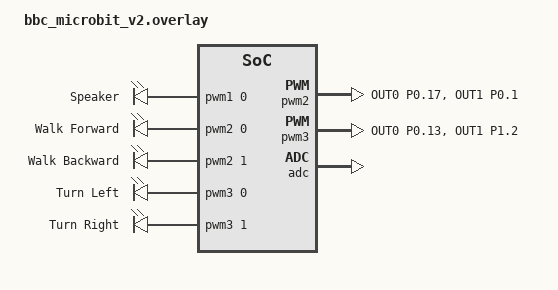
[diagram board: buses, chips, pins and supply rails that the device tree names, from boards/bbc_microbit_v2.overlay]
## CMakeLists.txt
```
# SPDX-License-Identifier: Apache-2.0

cmake_minimum_required(VERSION 3.20.0)
find_package(Zephyr REQUIRED HINTS $ENV{ZEPHYR_BASE})

project(imu_orientation)

# Build number (auto-incremented by build_flash.sh)
if(DEFINED BUILD_NUMBER)
    target_compile_definitions(app PRIVATE BUILD_NUMBER=${BUILD_NUMBER})
    message(STATUS "Build number: ${BUILD_NUMBER}")
endif()

target_sources(app PRIVATE
    # Core
    src/main.c
    src/robot_state.c

    # IMU/Sensors
    src/sensors.c
    src/orientation.c
    src/mahony_filter.c

    # Communication
    src/serial_output.c
    src/smp_bt.c
    src/ble_output.c
    src/telemetry.c

    # Xbox Controller
    src/ble_central.c
    src/hid_parser.c

    # Actuators
    src/motor_driver.c
    src/audio.c

    # Control
    src/yaw_controller.c

    # Sensors (additional)
    src/ir_sensors.c

    # Autonomous Navigation
    src/autonomous_nav.c

    # OTA/Bootloader
    src/boot_control.c
    src/ota_update.c

    # Testing
    src/motor_test.c
    src/sysid.c
)
```

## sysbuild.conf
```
# Sysbuild configuration for MCUboot bootloader
SB_CONFIG_BOOTLOADER_MCUBOOT=y
```

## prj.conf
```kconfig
# Threading
CONFIG_MULTITHREADING=y
CONFIG_NUM_PREEMPT_PRIORITIES=16
CONFIG_MAIN_STACK_SIZE=3584

# GPIO & I2C
CONFIG_GPIO=y
CONFIG_I2C=y

# Sensors
CONFIG_SENSOR=y

# Display
CONFIG_DISPLAY=y
CONFIG_MICROBIT_DISPLAY=y

# Floating point support
CONFIG_CBPRINTF_FP_SUPPORT=y
CONFIG_FPU=y

# C library with math (picolibc is smaller than newlib)
CONFIG_PICOLIBC=y

# Input subsystem for buttons
CONFIG_INPUT=y

# Debug output / Console
CONFIG_PRINTK=y
CONFIG_CONSOLE=y
CONFIG_UART_CONSOLE=y

# Heap for message queue allocations (increased for BLE Central + Peripheral)
CONFIG_HEAP_MEM_POOL_SIZE=8192

# MCUboot Support (disabled for direct flash testing)
# CONFIG_BOOTLOADER_MCUBOOT=y
# CONFIG_MCUBOOT_GENERATE_UNSIGNED_IMAGE=y
# Flash support (disabled without MCUboot)
# CONFIG_FLASH=y
# CONFIG_FLASH_MAP=y
# CONFIG_FLASH_PAGE_LAYOUT=y
# CONFIG_STREAM_FLASH=y
# CONFIG_IMG_MANAGER=y

# MCUmgr core (disabled without MCUboot)
# CONFIG_NET_BUF=y
# CONFIG_ZCBOR=y
# CONFIG_CRC=y
# CONFIG_MCUMGR=y

# MCUmgr handlers (disabled without MCUboot)
# CONFIG_MCUMGR_GRP_IMG=y
# CONFIG_MCUMGR_GRP_OS=y

# Stack sizes (increased for BLE Central + Peripheral + OTA flash ops)
CONFIG_SYSTEM_WORKQUEUE_STACK_SIZE=3072

# Size optimization
CONFIG_SIZE_OPTIMIZATIONS=y
CONFIG_SPEED_OPTIMIZATIONS=n

# Reduce code size
CONFIG_BOOT_BANNER=n

# =============================================================================
# Bluetooth Configuration (Central + Peripheral)
# =============================================================================
CONFIG_BT=y
CONFIG_BT_DEVICE_NAME="Ozzy"

# Peripheral role (for NUS output)
CONFIG_BT_PERIPHERAL=y

# Central role (for Xbox Controller)
CONFIG_BT_CENTRAL=y
CONFIG_BT_GATT_CLIENT=y

# Connection settings
CONFIG_BT_MAX_CONN=2
CONFIG_BT_MAX_PAIRED=2

# Security/Pairing/Bonding for Xbox Controller
CONFIG_BT_SMP=y
CONFIG_BT_BONDABLE=y
CONFIG_BT_SMP_APP_PAIRING_ACCEPT=y

# Persistent Bonding Storage
CONFIG_BT_SETTINGS=y
CONFIG_SETTINGS=y
CONFIG_NVS=y
CONFIG_FLASH=y
CONFIG_FLASH_MAP=y
CONFIG_FLASH_PAGE_LAYOUT=y

# GATT settings for HID discovery
CONFIG_BT_GATT_AUTO_DISCOVER_CCC=y
CONFIG_BT_GATT_AUTO_UPDATE_MTU=y

# Larger MTU for text responses (PID params ~50 bytes)
CONFIG_BT_L2CAP_TX_MTU=247
CONFIG_BT_CTLR_DATA_LENGTH_MAX=251

# Buffer configuration for HID reports and dual connections
CONFIG_BT_L2CAP_TX_BUF_COUNT=6
CONFIG_BT_BUF_ACL_RX_SIZE=255
CONFIG_BT_BUF_ACL_TX_SIZE=255
CONFIG_BT_CTLR_RX_BUFFERS=4

# Scanning
CONFIG_BT_SCAN_WITH_IDENTITY=y

# Nordic UART Service (NUS) for BLE output
CONFIG_BT_ZEPHYR_NUS=y

# =============================================================================
# PWM for Motors and Speaker
# =============================================================================
CONFIG_PWM=y

# =============================================================================
# ADC for IR Sensors
# =============================================================================
CONFIG_ADC=y

# =============================================================================
# Thread Monitoring (minimal for reduced size)
# =============================================================================
CONFIG_THREAD_MONITOR=y
CONFIG_THREAD_NAME=y
# Disable stack/CPU stats to save ~10KB flash
# CONFIG_THREAD_STACK_INFO=y
# CONFIG_INIT_STACKS=y
# CONFIG_THREAD_RUNTIME_STATS=y
# CONFIG_SCHED_THREAD_USAGE=y

# =============================================================================
# OTA Dual-Slot System
# =============================================================================
# Use device tree code-partition for app start address (0x04000)
CONFIG_USE_DT_CODE_PARTITION=y

# CRC for OTA validation
CONFIG_CRC=y

# Reboot support for OTA commit
CONFIG_REBOOT=y
```

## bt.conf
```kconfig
# BLE Configuration for IMU Sensor
# Include with: west build -- -DEXTRA_CONF_FILE="bt.conf"

# BLE Core
CONFIG_BT=y
CONFIG_BT_PERIPHERAL=y
CONFIG_BT_DEVICE_NAME="IMU-Sensor"
CONFIG_BT_DEVICE_APPEARANCE=0

# Enable GATT services
CONFIG_BT_GATT_DYNAMIC_DB=y

# Nordic UART Service (NUS)
CONFIG_BT_ZEPHYR_NUS=y

# MCUmgr BLE Transport for OTA DFU
CONFIG_MCUMGR_TRANSPORT_BT=y
CONFIG_MCUMGR_TRANSPORT_BT_REASSEMBLY=y

# Optimized MTU for faster transfers
CONFIG_BT_L2CAP_TX_MTU=252
CONFIG_BT_BUF_ACL_RX_SIZE=256
CONFIG_BT_BUF_ACL_TX_SIZE=256

# BLE connection parameters
CONFIG_BT_MAX_CONN=1
CONFIG_BT_MAX_PAIRED=1

# Security disabled to save space (can be enabled later for pairing)
CONFIG_BT_SMP=n
CONFIG_BT_SETTINGS=n

# Reduce BLE controller features to save space
CONFIG_BT_CTLR_PRIVACY=n
```

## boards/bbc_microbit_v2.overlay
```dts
/*
 * SPDX-License-Identifier: Apache-2.0
 * Device Tree Overlay for Kosmos Proxi Hexapod Robot
 *
 * Verified Pin-Belegung (2024-01-24):
 * - P13 (P0.17) = Walk Forward
 * - P14 (P0.01) = Walk Backward
 * - P15 (P0.13) = Turn Left
 * - P16 (P1.02) = Turn Right
 * - P0.00      = Speaker (integriert, PWM1)
 *
 * PWM-Zuordnung:
 * - PWM0: LED Matrix (vom Board verwendet)
 * - PWM1: Speaker/Buzzer (P0.00)
 * - PWM2: Walk Motor (P13 fwd, P14 bwd)
 * - PWM3: Turn Motor (P15 left, P16 right)
 */

#include <zephyr/dt-bindings/pwm/pwm.h>

/ {
    aliases {
        pwm-led0 = &speaker;
        walk-fwd = &walk_fwd;
        walk-bwd = &walk_bwd;
        turn-left = &turn_left;
        turn-right = &turn_right;
    };

    /* Speaker on P0.00 using PWM1 channel 0 */
    speaker_pwm: speaker-pwm {
        compatible = "pwm-leds";
        status = "okay";
        speaker: speaker_ch {
            pwms = <&pwm1 0 PWM_MSEC(1) PWM_POLARITY_NORMAL>;
            label = "Speaker";
        };
    };

    /* Walk Motor - Forward (P13) and Backward (P14) */
    walk_motor_pwm: walk-motor-pwm {
        compatible = "pwm-leds";
        status = "okay";
        walk_fwd: walk_fwd_ch {
            pwms = <&pwm2 0 PWM_USEC(1000) PWM_POLARITY_NORMAL>;
            label = "Walk Forward";
        };
        walk_bwd: walk_bwd_ch {
            pwms = <&pwm2 1 PWM_USEC(1000) PWM_POLARITY_NORMAL>;
            label = "Walk Backward";
        };
    };

    /* Turn Motor - Left (P15) and Right (P16) */
    turn_motor_pwm: turn-motor-pwm {
        compatible = "pwm-leds";
        status = "okay";
        turn_left: turn_left_ch {
            pwms = <&pwm3 0 PWM_USEC(1000) PWM_POLARITY_NORMAL>;
            label = "Turn Left";
        };
        turn_right: turn_right_ch {
            pwms = <&pwm3 1 PWM_USEC(1000) PWM_POLARITY_NORMAL>;
            label = "Turn Right";
        };
    };
};

/* PWM2 for walk motor */
&pwm2 {
    status = "okay";
    pinctrl-0 = <&pwm2_default>;
    pinctrl-1 = <&pwm2_sleep>;
    pinctrl-names = "default", "sleep";
};

/* PWM3 for turn motor */
&pwm3 {
    status = "okay";
    pinctrl-0 = <&pwm3_default>;
    pinctrl-1 = <&pwm3_sleep>;
    pinctrl-names = "default", "sleep";
};

&pinctrl {
    /* PWM2: Walk motor pins */
    pwm2_default: pwm2_default {
        group1 {
            psels = <NRF_PSEL(PWM_OUT0, 0, 17)>,  /* P13 = P0.17 = Walk Fwd */
                    <NRF_PSEL(PWM_OUT1, 0, 1)>;   /* P14 = P0.01 = Walk Bwd */
        };
    };
    pwm2_sleep: pwm2_sleep {
        group1 {
            psels = <NRF_PSEL(PWM_OUT0, 0, 17)>,
                    <NRF_PSEL(PWM_OUT1, 0, 1)>;
            low-power-enable;
        };
    };

    /* PWM3: Turn motor pins */
    pwm3_default: pwm3_default {
        group1 {
            psels = <NRF_PSEL(PWM_OUT0, 0, 13)>,  /* P15 = P0.13 = Turn Left */
                    <NRF_PSEL(PWM_OUT1, 1, 2)>;   /* P16 = P1.02 = Turn Right */
        };
    };
    pwm3_sleep: pwm3_sleep {
        group1 {
            psels = <NRF_PSEL(PWM_OUT0, 0, 13)>,
                    <NRF_PSEL(PWM_OUT1, 1, 2)>;
            low-power-enable;
        };
    };
};

/* ADC for IR Sensors (optional, for future use) */
&adc {
    status = "okay";
};

/*
 * Custom partition layout for Boot-Pointer OTA System
 *
 * Optimized Layout (nRF52833 512KB):
 *   Mini-Bootloader:   0x00000 - 0x02000 (8KB)
 *   Slot A (Primary):  0x02000 - 0x3F000 (244KB)
 *   Slot B (Secondary):0x3F000 - 0x7C000 (244KB)
 *   Boot Control Block:0x7C000 - 0x7D000 (4KB)
 *   OTA State:         0x7D000 - 0x7E000 (4KB)
 *   Settings/NVS:      0x7E000 - 0x80000 (8KB)
 *   Total: 512KB
 */
/delete-node/ &boot_partition;
/delete-node/ &slot0_partition;
/delete-node/ &slot1_partition;
/delete-node/ &scratch_partition;
/delete-node/ &storage_partition;

/*
 * Code partition selection:
 * - Default: Slot A (0x02000) for direct flash
 * - OTA to Slot B: Build with -DTARGET_SLOT=B
 *
 * The build script queries active slot and builds for inactive slot.
 */
/ {
    chosen {
        /* Default to Slot A - overridden by Kconfig for Slot B builds */
        zephyr,code-partition = &slot0_partition;
    };
};

&flash0 {
    partitions {
        compatible = "fixed-partitions";
        #address-cells = <1>;
        #size-cells = <1>;

        /* Mini-Bootloader: 8KB */
        boot_partition: partition@0 {
            label = "bootloader";
            reg = <0x00000000 0x00002000>;
            read-only;
        };

        /* Slot A - Primary firmware: 244KB */
        slot0_partition: partition@2000 {
            label = "image-0";
            reg = <0x00002000 0x0003D000>;
        };

        /* Slot B - Secondary firmware: 244KB */
        slot1_partition: partition@3f000 {
            label = "image-1";
            reg = <0x0003F000 0x0003D000>;
        };

        /* Boot Control Block: 4KB */
        boot_control_partition: partition@7c000 {
            label = "boot-control";
            reg = <0x0007C000 0x00001000>;
        };

        /* OTA State: 4KB */
        ota_state_partition: partition@7d000 {
            label = "ota-state";
            reg = <0x0007D000 0x00001000>;
        };

        /* Settings/NVS: 8KB */
        storage_partition: partition@7e000 {
            label = "storage";
            reg = <0x0007E000 0x00002000>;
        };
    };
};
```

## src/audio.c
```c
/*
 * SPDX-License-Identifier: Apache-2.0
 * Audio Module - PWM Tone Generation
 *
 * Uses PWM on the micro:bit v2 speaker (P0.00) for tone generation.
 */

#include "audio.h"
#include "robot_state.h"

#include <zephyr/kernel.h>
#include <zephyr/device.h>
#include <zephyr/drivers/pwm.h>
#include <zephyr/sys/printk.h>

/* Thread configuration */
#define AUDIO_STACK_SIZE 768
#define AUDIO_PRIORITY 7

K_THREAD_STACK_DEFINE(audio_stack, AUDIO_STACK_SIZE);
static struct k_thread audio_thread_data;

/*
 * PWM device for speaker - micro:bit v2 speaker is on P0.00
 * The board already defines pwm-led0 for the speaker
 */
#define SPEAKER_NODE DT_ALIAS(pwm_led0)

#if DT_NODE_EXISTS(SPEAKER_NODE)
static const struct pwm_dt_spec speaker = PWM_DT_SPEC_GET(SPEAKER_NODE);
#else
static const struct pwm_dt_spec speaker = {0};
#endif

/* Audio state */
static volatile bool is_playing = false;
static volatile bool is_muted = false;  /* Mutes regular sounds during calibration */

/* ============================================================================
 * Internal Functions
 * ============================================================================ */

/**
 * Set PWM for a specific frequency
 */
static void set_tone(uint32_t frequency_hz)
{
    if (!device_is_ready(speaker.dev)) {
        return;
    }

    if (frequency_hz == 0) {
        /* Silence - set duty cycle to 0 */
        pwm_set_pulse_dt(&speaker, 0);
    } else {
        /* Calculate period in nanoseconds */
        uint32_t period_ns = 1000000000U / frequency_hz;
        /* 50% duty cycle for square wave */
        uint32_t pulse_ns = period_ns / 2;
        pwm_set_dt(&speaker, period_ns, pulse_ns);
    }
}

/**
 * Play a sequence of notes
 */
static void play_melody(const uint16_t *notes, const uint16_t *durations, size_t count)
{
    is_playing = true;
    for (size_t i = 0; i < count && is_playing; i++) {
        set_tone(notes[i]);
        k_msleep(durations[i]);
    }
    set_tone(0);
    is_playing = false;
}

/**
 * Pairing start sound - ascending tones
 */
static void play_pairing_start(void)
{
    static const uint16_t notes[] = {NOTE_C4, NOTE_E4, NOTE_G4};
    static const uint16_t durations[] = {100, 100, 150};
    play_melody(notes, durations, ARRAY_SIZE(notes));
}

/**
 * Connected sound - success melody
 */
static void play_connected(void)
{
    static const uint16_t notes[] = {NOTE_C5, NOTE_E5, NOTE_G5, NOTE_C5};
    static const uint16_t durations[] = {80, 80, 80, 200};
    play_melody(notes, durations, ARRAY_SIZE(notes));
}

/**
 * Disconnected sound - descending tones
 */
static void play_disconnected(void)
{
    static const uint16_t notes[] = {NOTE_G4, NOTE_E4, NOTE_C4};
    static const uint16_t durations[] = {100, 100, 200};
    play_melody(notes, durations, ARRAY_SIZE(notes));
}

/**
 * Obstacle warning sound
 */
static void play_obstacle(void)
{
    static const uint16_t notes[] = {NOTE_A4, 0, NOTE_A4};
    static const uint16_t durations[] = {50, 30, 50};
    play_melody(notes, durations, ARRAY_SIZE(notes));
}

/**
 * Button press click
 */
static void play_button_press(void)
{
    set_tone(NOTE_C5);
    is_playing = true;
    k_msleep(30);
    set_tone(0);
    is_playing = false;
}

/**
 * Error sound
 */
static void play_error(void)
{
    static const uint16_t notes[] = {NOTE_C4, 0, NOTE_C4, 0, NOTE_C4};
    static const uint16_t durations[] = {100, 50, 100, 50, 200};
    play_melody(notes, durations, ARRAY_SIZE(notes));
}

/**
 * Shooting/laser sound effect - rapid descending sweep
 */
static void play_shoot(void)
{
    is_playing = true;

    /* Laser "pew pew" - rapid frequency sweep from high to low */
    for (uint32_t freq = 2000; freq >= 400 && is_playing; freq -= 80) {
        set_tone(freq);
        k_usleep(8000);  /* 8ms per step = ~160ms total */
    }

    /* Short tail */
    set_tone(300);
    k_msleep(30);
    set_tone(0);

    is_playing = false;
}

/**
 * Machine gun sound effect - rapid bursts of noise
 */
static void play_machinegun(void)
{
    is_playing = true;

    /* Machine gun: rapid alternating high/low tones to simulate rattling */
    for (int burst = 0; burst < 12 && is_playing; burst++) {
        /* High frequency burst */
        set_tone(800 + (burst % 3) * 100);
        k_usleep(15000);  /* 15ms */

        /* Short silence between shots */
        set_tone(0);
        k_usleep(10000);  /* 10ms gap */
    }

    set_tone(0);
    is_playing = false;
}

/**
 * Calibration beep - short high-pitched tick
 */
static void play_calibration_beep(void)
{
    set_tone(NOTE_E5);
    is_playing = true;
    k_msleep(50);
    set_tone(0);
    is_playing = false;
}

/**
 * Calibration done - success jingle (ascending fanfare)
 */
static void play_calibration_done(void)
{
    static const uint16_t notes[] = {NOTE_C5, NOTE_E5, NOTE_G5, NOTE_C5, 0, NOTE_G5, NOTE_C5};
    static const uint16_t durations[] = {100, 100, 100, 150, 50, 100, 300};
    play_melody(notes, durations, ARRAY_SIZE(notes));
}

/* ============================================================================
 * Audio Thread
 * ============================================================================ */

static void audio_thread_fn(void *p1, void *p2, void *p3)
{
    ARG_UNUSED(p1);
    ARG_UNUSED(p2);
    ARG_UNUSED(p3);

    enum sound_event event;
    int ret;

    printk("Audio thread started\n");

    while (1) {
        /* Wait for sound event */
        ret = k_msgq_get(&sound_q, &event, K_FOREVER);
        if (ret != 0) {
            continue;
        }

        /* Play the appropriate sound */
        switch (event) {
        case SOUND_PAIRING_START:
            play_pairing_start();
            break;
        case SOUND_CONNECTED:
            play_connected();
            break;
        case SOUND_DISCONNECTED:
            play_disconnected();
            break;
        case SOUND_OBSTACLE:
            play_obstacle();
            break;
        case SOUND_BUTTON_PRESS:
            play_button_press();
            break;
        case SOUND_ERROR:
            play_error();
            break;
        case SOUND_SHOOT:
            play_shoot();
            break;
        case SOUND_MACHINEGUN:
            play_machinegun();
            break;
        case SOUND_CALIBRATION_BEEP:
            play_calibration_beep();
            break;
        case SOUND_CALIBRATION_DONE:
            play_calibration_done();
            break;
        case SOUND_NONE:
        default:
            break;
        }
    }
}

/* ============================================================================
 * Public API
 * ============================================================================ */

int audio_init(void)
{
    if (!device_is_ready(speaker.dev)) {
        printk("Audio: Speaker PWM device not ready\n");
        return -ENODEV;
    }

    /* Ensure speaker is off */
    set_tone(0);

    printk("Audio: Initialized\n");
    return 0;
}

void audio_start_thread(void)
{
    k_thread_create(&audio_thread_data, audio_stack,
                    K_THREAD_STACK_SIZEOF(audio_stack),
                    audio_thread_fn, NULL, NULL, NULL,
                    AUDIO_PRIORITY, 0, K_NO_WAIT);
    k_thread_name_set(&audio_thread_data, "audio");
}

void audio_play(enum sound_event event)
{
    /* When muted, only allow calibration sounds */
    if (is_muted &&
        event != SOUND_CALIBRATION_BEEP &&
        event != SOUND_CALIBRATION_DONE) {
        return;
    }

    /* Non-blocking send to audio queue */
    k_msgq_put(&sound_q, &event, K_NO_WAIT);
}

void audio_set_muted(bool muted)
{
    is_muted = muted;
    if (muted) {
        /* Stop any currently playing sound when entering mute */
        audio_stop();
    }
}

bool audio_is_muted(void)
{
    return is_muted;
}

void audio_tone(uint32_t frequency_hz, uint32_t duration_ms)
{
    is_playing = true;
    set_tone(frequency_hz);
    k_msleep(duration_ms);
    set_tone(0);
    is_playing = false;
}

void audio_stop(void)
{
    is_playing = false;
    set_tone(0);
}

bool audio_is_playing(void)
{
    return is_playing;
}
```

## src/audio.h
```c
/*
 * SPDX-License-Identifier: Apache-2.0
 * Audio Module - PWM Tone Generation
 *
 * Timer-based PWM audio for feedback sounds on the micro:bit v2 speaker.
 */

#ifndef AUDIO_H
#define AUDIO_H

#include "robot_state.h"

/**
 * Initialize the audio module
 *
 * @return 0 on success, negative errno on failure
 */
int audio_init(void);

/**
 * Start the audio thread
 * Processes sound events from sound_q
 */
void audio_start_thread(void);

/**
 * Play a sound event (non-blocking)
 * Sends event to audio thread via message queue
 *
 * @param event Sound event to play
 */
void audio_play(enum sound_event event);

/**
 * Play a tone at specified frequency for duration
 *
 * @param frequency_hz Frequency in Hz (0 = silence)
 * @param duration_ms Duration in milliseconds
 */
void audio_tone(uint32_t frequency_hz, uint32_t duration_ms);

/**
 * Stop any currently playing sound
 */
void audio_stop(void);

/**
 * Check if audio is currently playing
 *
 * @return true if a sound is playing
 */
bool audio_is_playing(void);

/**
 * Set muted state (for calibration mode)
 * When muted, only calibration sounds are played.
 *
 * @param muted true to mute regular sounds
 */
void audio_set_muted(bool muted);

/**
 * Check if audio is muted
 *
 * @return true if muted
 */
bool audio_is_muted(void);

/* Musical note frequencies (Hz) */
#define NOTE_C4  262
#define NOTE_D4  294
#define NOTE_E4  330
#define NOTE_F4  349
#define NOTE_G4  392
#define NOTE_A4  440
#define NOTE_B4  494
#define NOTE_C5  523
#define NOTE_D5  587
#define NOTE_E5  659
#define NOTE_F5  698
#define NOTE_G5  784

#endif /* AUDIO_H */
```

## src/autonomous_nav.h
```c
/*
 * SPDX-License-Identifier: Apache-2.0
 * Autonomous Navigation Module
 *
 * Implements autonomous navigation with obstacle avoidance for the
 * Kosmos Proxi hexapod robot. Activated via D-Pad, with manual override.
 */

#ifndef AUTONOMOUS_NAV_H
#define AUTONOMOUS_NAV_H

#include <stdbool.h>
#include <stdint.h>

/* ============================================================================
 * Autonomous Navigation States
 * ============================================================================ */

/**
 * Autonomous navigation state machine
 */
enum autonav_state {
    AUTONAV_DISABLED,           /* Navigation disabled, manual control */
    AUTONAV_HEADING_HOLD,       /* Driving forward with continuous heading correction */
    AUTONAV_TURNING,            /* Turning to new target heading (in place) */
    AUTONAV_SCANNING,           /* Obstacle detected: scanning left/right for best path */
};

/* ============================================================================
 * Configuration Constants
 * ============================================================================ */

/* Motor speeds for autonomous navigation */
#define AUTONAV_SPEED_LINEAR     100  /* Forward speed (100%) */
#define AUTONAV_SPEED_ANGULAR    60   /* Turn speed */
#define AUTONAV_SPEED_BACKUP    -50   /* Backup speed */

/* Heading control - PI controller with anti-windup for continuous correction */
#define HEADING_KP               0.5f  /* Proportional gain (reduced from 1.0 for smoother response) */
#define HEADING_KI               0.05f /* Integral gain (eliminates steady-state error) */
#define HEADING_KD               0.1f  /* Derivative gain (damps oscillations) */
#define HEADING_D_MAX            5.0f  /* Maximum D term contribution (°/s) */
#define HEADING_I_MAX            5.0f  /* Integral windup limit (°/s contribution) */
#define HEADING_TOLERANCE        2.0f  /* Target reached when error < this (degrees) */
#define AUTONAV_YAW_RATE_MAX    12.0f  /* Maximum yaw rate for autonomous nav (°/s) - reduced for stability */

/* Turning control parameters (in-place rotation to target heading) */
#define TURNING_KP               0.8f  /* Proportional gain: 90° error → 72% speed */
#define TURNING_MIN_YAW_RATE    10.0f  /* Minimum yaw rate for turning (°/s) */

/* Obstacle parameters */
#define OBSTACLE_DIST_STOP       250.0f  /* Stop and scan if closer than this (mm) */
#define OBSTACLE_DIST_SLOW       400.0f  /* Slow down if closer than this (mm) */

/* Scanning parameters */
#define SCAN_ANGLE               90.0f  /* How far to look left/right (degrees) */

/* Timing (ms) */
#define AUTONAV_TURNING_TIMEOUT  30000 /* Max time for turning (30 sec) */
#define SCAN_SETTLE_TIME         300   /* Wait time after reaching scan position (ms) */

/* ============================================================================
 * Public API
 * ============================================================================ */

/**
 * Initialize the autonomous navigation module
 *
 * @return 0 on success, negative error code on failure
 */
int autonav_init(void);

/**
 * Start the autonomous navigation thread
 */
void autonav_start_thread(void);

/**
 * Enable autonomous navigation mode
 * Robot will start exploring and avoiding obstacles
 */
void autonav_enable(void);

/**
 * Disable autonomous navigation mode
 * Returns control to manual input
 */
void autonav_disable(void);

/**
 * Check if autonomous navigation is enabled
 *
 * @return true if autonomous mode is active
 */
bool autonav_is_enabled(void);

/**
 * Get current autonomous navigation state
 *
 * @return Current state from autonav_state enum
 */
enum autonav_state autonav_get_state(void);

/**
 * Trigger manual override
 * Called when manual input is detected during autonomous mode
 */
void autonav_manual_override(void);

/**
 * Initiate a relative turn by the specified degrees
 * Only effective when autonomous mode is enabled.
 *
 * @param degrees Relative turn amount (+90 for left/CCW, -90 for right/CW, 180 for U-turn)
 */
void autonav_turn_relative(int16_t degrees);

/**
 * Get the current target heading
 *
 * @return Target heading in degrees (0-360), or -1 if not in heading-hold mode
 */
float autonav_get_target_heading(void);

/**
 * Set heading controller PID parameters (runtime tuning)
 *
 * @param kp Proportional gain
 * @param ki Integral gain
 * @param kd Derivative gain
 * @param i_max Integral windup limit
 * @param d_max Derivative term limit
 * @param yaw_max Maximum yaw rate command
 */
void autonav_set_pid_params(float kp, float ki, float kd, float i_max, float d_max, float yaw_max);

/**
 * Get current heading controller PID parameters
 *
 * @param kp Output: Proportional gain (may be NULL)
 * @param ki Output: Integral gain (may be NULL)
 * @param kd Output: Derivative gain (may be NULL)
 * @param i_max Output: Integral windup limit (may be NULL)
 * @param d_max Output: Derivative term limit (may be NULL)
 * @param yaw_max Output: Maximum yaw rate command (may be NULL)
 */
void autonav_get_pid_params(float *kp, float *ki, float *kd, float *i_max, float *d_max, float *yaw_max);

/**
 * Save PID parameters to flash
 *
 * @return 0 on success, negative error code on failure
 */
int autonav_save_pid_params(void);

#endif /* AUTONOMOUS_NAV_H */
```

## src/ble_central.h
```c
/*
 * SPDX-License-Identifier: Apache-2.0
 * BLE Central - Xbox Controller Connection
 *
 * Implements BLE Central role to scan for and connect to Xbox Wireless Controller.
 */

#ifndef BLE_CENTRAL_H
#define BLE_CENTRAL_H

#include <stdbool.h>
#include <stdint.h>

/**
 * BLE Central connection callback type
 */
typedef void (*ble_central_connected_cb_t)(void);
typedef void (*ble_central_disconnected_cb_t)(void);
typedef void (*ble_central_input_cb_t)(const uint8_t *data, uint16_t len);

/**
 * BLE Central callbacks
 */
struct ble_central_callbacks {
    ble_central_connected_cb_t connected;
    ble_central_disconnected_cb_t disconnected;
    ble_central_input_cb_t input_received;
};

/**
 * Initialize BLE Central mode
 * Note: This will modify BLE to support both peripheral and central roles
 *
 * @param callbacks Callback functions for events
 * @return 0 on success, negative errno on failure
 */
int ble_central_init(const struct ble_central_callbacks *callbacks);

/**
 * Start scanning for Xbox Controller
 * Scans for devices with name "Xbox Wireless Controller"
 *
 * @return 0 on success, negative errno on failure
 */
int ble_central_start_scan(void);

/**
 * Stop scanning
 *
 * @return 0 on success, negative errno on failure
 */
int ble_central_stop_scan(void);

/**
 * Disconnect from controller
 *
 * @return 0 on success, negative errno on failure
 */
int ble_central_disconnect(void);

/**
 * Check if currently scanning
 *
 * @return true if scanning is active
 */
bool ble_central_is_scanning(void);

/**
 * Check if connected to controller
 *
 * @return true if controller is connected
 */
bool ble_central_is_connected(void);

/**
 * Start the BLE central thread
 */
void ble_central_start_thread(void);

/**
 * Start auto-reconnect to bonded controller (if any)
 * Called at startup after BLE is initialized
 *
 * @return 0 if reconnect started, -ENOENT if no bonded controller
 */
int ble_central_start_reconnect(void);

/**
 * Check if a controller is bonded
 *
 * @return true if we have a bonded controller
 */
bool ble_central_has_bonded_controller(void);

/**
 * Clear bonded controller
 * Call this to forget the paired controller
 */
void ble_central_clear_bonds(void);

#endif /* BLE_CENTRAL_H */
```

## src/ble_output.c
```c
/*
 * SPDX-License-Identifier: Apache-2.0
 * BLE Output Thread using Nordic UART Service (NUS)
 */

#include "ble_output.h"
#include "version.h"
#include "sensors.h"
#include "smp_bt.h"
#include "serial_output.h"
#include "telemetry.h"
#include "autonomous_nav.h"
#include "ota_update.h"
#include "boot_control.h"

#include <stdlib.h>

#include <zephyr/kernel.h>
#include <zephyr/sys/printk.h>
#include <zephyr/bluetooth/bluetooth.h>
#include <zephyr/bluetooth/conn.h>
#include <zephyr/bluetooth/services/nus.h>

#include <string.h>
#include <stdio.h>

/* Output thread configuration */
#define BLE_OUTPUT_STACK_SIZE 1536
#define BLE_OUTPUT_PRIORITY 7
#define BLE_OUTPUT_PERIOD_MS 100  /* 10 Hz */

K_THREAD_STACK_DEFINE(ble_output_stack, BLE_OUTPUT_STACK_SIZE);
static struct k_thread ble_output_thread_data;

/* NUS notification state */
static volatile bool nus_notifications_enabled;

/* OTA work queue for async processing
 * Priority 4 = higher than sensors(5), lower than BLE TX(7)
 */
#define OTA_WORKQ_PRIORITY  4
#define OTA_WORKQ_STACK_SIZE 3072
K_THREAD_STACK_DEFINE(ota_workq_stack, OTA_WORKQ_STACK_SIZE);
static struct k_work_q ota_workq;

/* Double-buffer (ping-pong) for OTA packets
 * This prevents race conditions where a new packet overwrites
 * the buffer before the previous one is processed.
 */
static struct k_work ota_work;
static uint8_t ota_packet_buf[2][256];  /* Two buffers */
static uint16_t ota_packet_len[2];
static volatile uint8_t ota_write_idx;   /* Buffer being written by BLE callback */
static volatile uint8_t ota_read_idx;    /* Buffer being read by work handler */
static K_SEM_DEFINE(ota_buf_sem, 1, 1);  /* Semaphore to signal buffer ready */

static void ota_work_handler(struct k_work *work)
{
    ARG_UNUSED(work);

    /* Process all pending buffers */
    while (ota_packet_len[ota_read_idx] > 0) {
        uint8_t idx = ota_read_idx;
        uint16_t len = ota_packet_len[idx];

        /* Process the packet (this may do flash writes) */
        ota_process_packet(ota_packet_buf[idx], len);

        /* Mark buffer as processed */
        ota_packet_len[idx] = 0;

        /* Move to next buffer */
        ota_read_idx = (ota_read_idx + 1) % 2;
    }
}

/* NUS callbacks */
static void nus_notif_enabled(bool enabled, void *ctx)
{
    ARG_UNUSED(ctx);

    if (enabled) {
        nus_notifications_enabled = true;
        printk("NUS: Notifications enabled\n");
    } else {
        nus_notifications_enabled = false;
        printk("NUS: Notifications disabled\n");
    }
}

static void nus_received(struct bt_conn *conn, const void *data, uint16_t len, void *ctx)
{
    ARG_UNUSED(ctx);

    const uint8_t *byte_data = (const uint8_t *)data;

    /* Check for OTA packet (first byte is OTA_MAGIC) */
    if (len > 0 && byte_data[0] == OTA_MAGIC) {
        /* Use ping-pong buffer to avoid race conditions.
         * Copy to write buffer and submit work. */
        uint8_t idx = ota_write_idx;

        /* Check if buffer is available (previous packet processed) */
        if (ota_packet_len[idx] == 0 && len <= sizeof(ota_packet_buf[0])) {
            memcpy(ota_packet_buf[idx], byte_data, len);
            ota_packet_len[idx] = len;

            /* Switch to other buffer for next packet */
            ota_write_idx = (ota_write_idx + 1) % 2;

            /* Submit work to process the packet */
            k_work_submit_to_queue(&ota_workq, &ota_work);
        } else {
            /* Buffer busy - this shouldn't happen if Python waits for ACK */
            printk("OTA: Buffer busy, dropping packet\n");
        }
        return;
    }

    char cmd[80];  /* Increased for PID command with KD/DMAX (~60 bytes) */

    /* Safety check */
    if (len == 0 || len >= sizeof(cmd)) {
        printk("NUS: Command too long (%d bytes, max %zu)\n", len, sizeof(cmd) - 1);
        return;
    }

    /* Copy and null-terminate */
    memcpy(cmd, data, len);
    cmd[len] = '\0';

    /* Remove trailing newline/carriage return */
    while (len > 0 && (cmd[len - 1] == '\n' || cmd[len - 1] == '\r')) {
        cmd[--len] = '\0';
    }

    printk("NUS: Received command: '%s'\n", cmd);

    /* Handle commands */
    if (strcmp(cmd, "CAL") == 0 || strcmp(cmd, "cal") == 0) {
        /* Start calibration */
        if (!sensors_is_calibrating()) {
            sensors_start_calibration();
            bt_nus_send(conn, "CAL:OK\r\n", 8);
            printk("NUS: Calibration started\n");
        } else {
            bt_nus_send(conn, "CAL:BUSY\r\n", 10);
        }
    } else if (strcmp(cmd, "VER") == 0 || strcmp(cmd, "ver") == 0) {
        /* Send firmware version, slot, and boot info */
        extern uint32_t boot_control_get_firmware_version(uint8_t slot);
        char ver_msg[80];
        uint8_t slot = boot_control_get_active_slot();
        int ver_len = snprintf(ver_msg, sizeof(ver_msg),
            "VER:%s,SLOT:%c,A:%u,B:%u\r\n",
            FW_VERSION, slot == 0 ? 'A' : 'B',
            boot_control_get_firmware_version(SLOT_A),
            boot_control_get_firmware_version(SLOT_B));
        bt_nus_send(conn, ver_msg, ver_len);
    } else if (strcmp(cmd, "IMU") == 0 || strcmp(cmd, "imu") == 0) {
        /* Toggle IMU streaming */
        bool enabled = !serial_output_is_imu_enabled();
        serial_output_set_imu_enabled(enabled);
        bt_nus_send(conn, enabled ? "IMU:ON\r\n" : "IMU:OFF\r\n",
                    enabled ? 8 : 9);
    } else if (strcmp(cmd, "IMUON") == 0 || strcmp(cmd, "imuon") == 0) {
        /* Enable IMU streaming */
        serial_output_set_imu_enabled(true);
        bt_nus_send(conn, "IMU:ON\r\n", 8);
    } else if (strcmp(cmd, "IMUOFF") == 0 || strcmp(cmd, "imuoff") == 0) {
        /* Disable IMU streaming */
        serial_output_set_imu_enabled(false);
        bt_nus_send(conn, "IMU:OFF\r\n", 9);
    } else if (strcmp(cmd, "IRD") == 0 || strcmp(cmd, "ird") == 0) {
        /* Toggle IR sensor debug output */
        extern void ir_sensors_set_debug(bool);
        extern bool ir_sensors_is_calibrating(void);
        static bool ir_debug_on = true;  /* Matches default in ir_sensors.c */
        ir_debug_on = !ir_debug_on;
        ir_sensors_set_debug(ir_debug_on);
        bt_nus_send(conn, ir_debug_on ? "IRD:ON\r\n" : "IRD:OFF\r\n",
                    ir_debug_on ? 8 : 9);
    } else if (strcmp(cmd, "TELE") == 0 || strcmp(cmd, "tele") == 0) {
        /* Toggle binary telemetry streaming */
        bool enabled = !telemetry_is_enabled();
        telemetry_enable(enabled);
        bt_nus_send(conn, enabled ? "TELE:ON\r\n" : "TELE:OFF\r\n",
                    enabled ? 9 : 10);
    } else if (strcmp(cmd, "TELEON") == 0 || strcmp(cmd, "teleon") == 0) {
        /* Enable binary telemetry */
        telemetry_enable(true);
        bt_nus_send(conn, "TELE:ON\r\n", 9);
    } else if (strcmp(cmd, "TELEOFF") == 0 || strcmp(cmd, "teleoff") == 0) {
        /* Disable binary telemetry */
        telemetry_enable(false);
        bt_nus_send(conn, "TELE:OFF\r\n", 10);
    } else if (strncmp(cmd, "PID:", 4) == 0) {
        /* Parse PID parameters: PID:KP=0.50,KI=0.050,KD=0.10,IMAX=5.0,DMAX=5.0,YMAX=12.0 */
        float kp, ki, kd, i_max, d_max, yaw_max;
        autonav_get_pid_params(&kp, &ki, &kd, &i_max, &d_max, &yaw_max);

        char *param = cmd + 4;
        char *saveptr;
        char *token = strtok_r(param, ",", &saveptr);

        while (token != NULL) {
            if (strncmp(token, "KP=", 3) == 0) {
                kp = strtof(token + 3, NULL);
            } else if (strncmp(token, "KI=", 3) == 0) {
                ki = strtof(token + 3, NULL);
            } else if (strncmp(token, "KD=", 3) == 0) {
                kd = strtof(token + 3, NULL);
            } else if (strncmp(token, "IMAX=", 5) == 0) {
                i_max = strtof(token + 5, NULL);
            } else if (strncmp(token, "DMAX=", 5) == 0) {
                d_max = strtof(token + 5, NULL);
            } else if (strncmp(token, "YMAX=", 5) == 0) {
                yaw_max = strtof(token + 5, NULL);
            }
            token = strtok_r(NULL, ",", &saveptr);
        }

        autonav_set_pid_params(kp, ki, kd, i_max, d_max, yaw_max);

        char resp[96];
        int resp_len = snprintf(resp, sizeof(resp),
            "PID:KP=%.2f,KI=%.3f,KD=%.2f,IMAX=%.1f,DMAX=%.1f,YMAX=%.1f\r\n",
            (double)kp, (double)ki, (double)kd, (double)i_max, (double)d_max, (double)yaw_max);
        bt_nus_send(conn, resp, resp_len);
    } else if (strcmp(cmd, "PIDGET") == 0 || strcmp(cmd, "pidget") == 0) {
        /* Get current PID parameters */
        float kp, ki, kd, i_max, d_max, yaw_max;
        autonav_get_pid_params(&kp, &ki, &kd, &i_max, &d_max, &yaw_max);

        char resp[96];
        int resp_len = snprintf(resp, sizeof(resp),
            "PID:KP=%.2f,KI=%.3f,KD=%.2f,IMAX=%.1f,DMAX=%.1f,YMAX=%.1f\r\n",
            (double)kp, (double)ki, (double)kd, (double)i_max, (double)d_max, (double)yaw_max);
        bt_nus_send(conn, resp, resp_len);
    } else if (strcmp(cmd, "PIDSAVE") == 0 || strcmp(cmd, "pidsave") == 0) {
        /* Save PID parameters to flash */
        int err = autonav_save_pid_params();
        if (err == 0) {
            bt_nus_send(conn, "PID:SAVED\r\n", 11);
        } else {
            bt_nus_send(conn, "PID:ERR\r\n", 9);
        }
    } else if (strcmp(cmd, "HELP") == 0 || strcmp(cmd, "help") == 0 || strcmp(cmd, "?") == 0) {
        /* List available commands */
        bt_nus_send(conn, "CMD:VER,CAL,IMU,IRD,TELE,PID,PIDGET,PIDSAVE,HELP\r\n", 50);
    } else {
        /* Unknown command */
        bt_nus_send(conn, "ERR:UNKNOWN\r\n", 13);
    }
}

static struct bt_nus_cb nus_callbacks = {
    .notif_enabled = nus_notif_enabled,
    .received = nus_received,
};

/* OTA BLE send callback */
static int ota_ble_send(const uint8_t *data, uint16_t len)
{
    return bt_nus_send(NULL, data, len);
}

static void ble_output_thread_fn(void *p1, void *p2, void *p3)
{
    ARG_UNUSED(p1);
    ARG_UNUSED(p2);
    ARG_UNUSED(p3);

    struct sensor_msg msg;
    char output_buf[64];
    int ret;
    int len;

    printk("BLE Output thread started\n");

    while (1) {
        /* Check if we should send data */
        if (!smp_bt_is_connected() || !nus_notifications_enabled) {
            /* Not connected or notifications disabled, just drain queue */
            k_msgq_get(&orientation_msgq, &msg, K_MSEC(BLE_OUTPUT_PERIOD_MS));
            k_msleep(BLE_OUTPUT_PERIOD_MS);
            continue;
        }

        /* Get orientation data from sensor thread */
        ret = k_msgq_get(&orientation_msgq, &msg, K_MSEC(BLE_OUTPUT_PERIOD_MS));

        if (ret == 0) {
            /* Format: IMU,<timestamp>,<roll>,<pitch>,<heading>\r\n */
            len = snprintf(output_buf, sizeof(output_buf),
                          "IMU,%u,%.1f,%.1f,%.1f\r\n",
                          msg.orientation.timestamp_ms,
                          (double)msg.orientation.roll,
                          (double)msg.orientation.pitch,
                          (double)msg.orientation.heading);

            if (len > 0 && len < (int)sizeof(output_buf)) {
                ret = bt_nus_send(NULL, output_buf, len);
                if (ret && ret != -ENOTCONN) {
                    printk("NUS: Send failed (err %d)\n", ret);
                }
            }
        }
    }
}

int ble_output_init(void)
{
    int err;

    err = bt_nus_cb_register(&nus_callbacks, NULL);
    if (err) {
        printk("NUS: Failed to register callbacks (err %d)\n", err);
        return err;
    }

    /* Initialize OTA subsystem and set BLE send callback */
    err = ota_init();
    if (err) {
        printk("OTA: Init failed (err %d)\n", err);
        /* Continue anyway - OTA just won't work */
    } else {
        ota_set_send_callback(ota_ble_send);
        printk("OTA: Initialized with BLE send callback\n");
    }

    printk("NUS: Callbacks registered\n");
    return 0;
}

void ble_output_start_thread(void)
{
    /* Initialize dedicated OTA work queue with HIGH priority */
    k_work_queue_init(&ota_workq);
    k_work_queue_start(&ota_workq, ota_workq_stack,
                       K_THREAD_STACK_SIZEOF(ota_workq_stack),
                       OTA_WORKQ_PRIORITY, NULL);
    k_thread_name_set(&ota_workq.thread, "ota_workq");

    /* Initialize OTA work item */
    k_work_init(&ota_work, ota_work_handler);

    k_thread_create(&ble_output_thread_data, ble_output_stack,
                    K_THREAD_STACK_SIZEOF(ble_output_stack),
                    ble_output_thread_fn, NULL, NULL, NULL,
                    BLE_OUTPUT_PRIORITY, 0, K_NO_WAIT);
    k_thread_name_set(&ble_output_thread_data, "ble_out");
}

bool ble_output_is_enabled(void)
{
    return nus_notifications_enabled;
}
```

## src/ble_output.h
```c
/*
 * SPDX-License-Identifier: Apache-2.0
 * BLE Output Thread using Nordic UART Service (NUS)
 */

#ifndef BLE_OUTPUT_H
#define BLE_OUTPUT_H

#include <stdbool.h>

/**
 * Initialize BLE output module
 * Must be called after smp_bt_init()
 *
 * @return 0 on success, negative errno on failure
 */
int ble_output_init(void);

/**
 * Start the BLE output thread (10 Hz)
 * Streams orientation data over NUS when connected
 */
void ble_output_start_thread(void);

/**
 * Check if NUS notifications are enabled
 *
 * @return true if a client has enabled notifications
 */
bool ble_output_is_enabled(void);

#endif /* BLE_OUTPUT_H */
```

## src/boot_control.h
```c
/*
 * SPDX-License-Identifier: Apache-2.0
 *
 * Boot Control Block - Manages dual-slot firmware with boot pointer
 *
 * Optimized Flash Layout (nRF52833 512KB):
 *   0x00000 - 0x02000: Mini-Bootloader (8KB)
 *   0x02000 - 0x3F000: Slot A - Primary firmware (244KB)
 *   0x3F000 - 0x7C000: Slot B - Secondary firmware (244KB)
 *   0x7C000 - 0x7D000: Boot Control Block (4KB)
 *   0x7D000 - 0x7E000: OTA State (4KB)
 *   0x7E000 - 0x80000: Settings/NVS (8KB)
 */

#ifndef BOOT_CONTROL_H
#define BOOT_CONTROL_H

#include <stdint.h>
#include <stdbool.h>

/* Flash addresses */
#define BOOTLOADER_ADDR     0x00000000
#define BOOTLOADER_SIZE     0x00002000  /* 8KB */

#define SLOT_A_ADDR         0x00002000
#define SLOT_A_SIZE         0x0003D000  /* 244KB */

#define SLOT_B_ADDR         0x0003F000
#define SLOT_B_SIZE         0x0003D000  /* 244KB */

#define BOOT_CTRL_ADDR      0x0007C000
#define BOOT_CTRL_SIZE      0x00001000  /* 4KB */

#define OTA_STATE_ADDR      0x0007D000
#define OTA_STATE_SIZE      0x00001000  /* 4KB */

#define SETTINGS_ADDR       0x0007E000
#define SETTINGS_SIZE       0x00002000  /* 8KB */

/* Magic values */
#define BOOT_MAGIC          0xB007F1E0  /* "BOOT FILE" in leetspeak */
#define BOOT_VERSION        2  /* Incremented for version field support */

/* Fallback reason codes */
#define BOOT_FALLBACK_NONE      0  /* Normal boot, no fallback */
#define BOOT_FALLBACK_CRC_FAIL  1  /* Primary slot CRC verification failed */
#define BOOT_FALLBACK_VERSION   2  /* Using lower version (other slot invalid) */
#define BOOT_FALLBACK_BOOT_COUNT 3 /* Too many boot attempts */

/* Slot identifiers */
#define SLOT_A              0
#define SLOT_B              1

/**
 * Boot Control Block structure
 * Stored in flash at BOOT_CTRL_ADDR
 */
struct boot_control {
    uint32_t magic;           /* BOOT_MAGIC for validation */
    uint8_t  version;         /* Structure version */
    uint8_t  active_slot;     /* 0 = Slot A, 1 = Slot B */
    uint8_t  slot_a_valid;    /* 1 = Slot A contains valid firmware */
    uint8_t  slot_b_valid;    /* 1 = Slot B contains valid firmware */
    uint8_t  boot_count;      /* Counter for fallback detection */
    uint8_t  fallback_reason; /* Why fallback occurred (BOOT_FALLBACK_*) */
    uint8_t  last_boot_slot;  /* Which slot we actually booted (for diagnostics) */
    uint8_t  reserved;        /* Alignment padding */
    uint32_t slot_a_crc;      /* CRC32 of firmware in Slot A */
    uint32_t slot_b_crc;      /* CRC32 of firmware in Slot B */
    uint32_t slot_a_size;     /* Size of firmware in Slot A (bytes) */
    uint32_t slot_b_size;     /* Size of firmware in Slot B (bytes) */
    uint32_t slot_a_version;  /* Build number of firmware in Slot A */
    uint32_t slot_b_version;  /* Build number of firmware in Slot B */
    uint32_t checksum;        /* CRC32 of this structure (excluding this field) */
};

/**
 * Initialize boot control subsystem
 * Reads boot control block from flash
 *
 * @return 0 on success, negative error code on failure
 */
int boot_control_init(void);

/**
 * Get currently active slot
 *
 * @return SLOT_A or SLOT_B
 */
uint8_t boot_control_get_active_slot(void);

/**
 * Get inactive (update target) slot
 *
 * @return SLOT_A or SLOT_B
 */
uint8_t boot_control_get_inactive_slot(void);

/**
 * Get slot flash address
 *
 * @param slot SLOT_A or SLOT_B
 * @return Flash address of slot start
 */
uint32_t boot_control_get_slot_addr(uint8_t slot);

/**
 * Get slot size
 *
 * @param slot SLOT_A or SLOT_B
 * @return Size of slot in bytes
 */
uint32_t boot_control_get_slot_size(uint8_t slot);

/**
 * Check if slot contains valid firmware
 *
 * @param slot SLOT_A or SLOT_B
 * @return true if slot is valid
 */
bool boot_control_is_slot_valid(uint8_t slot);

/**
 * Get firmware size in slot
 *
 * @param slot SLOT_A or SLOT_B
 * @return Firmware size in bytes, 0 if invalid
 */
uint32_t boot_control_get_firmware_size(uint8_t slot);

/**
 * Get firmware CRC32 in slot
 *
 * @param slot SLOT_A or SLOT_B
 * @return CRC32 of firmware, 0 if invalid
 */
uint32_t boot_control_get_firmware_crc(uint8_t slot);

/**
 * Mark slot as valid after successful OTA
 *
 * @param slot SLOT_A or SLOT_B
 * @param size Firmware size in bytes
 * @param crc32 CRC32 of firmware
 * @param build_num Build number (version) of firmware
 * @return 0 on success, negative error code on failure
 */
int boot_control_mark_slot_valid(uint8_t slot, uint32_t size, uint32_t crc32, uint32_t build_num);

/**
 * Mark slot as invalid (e.g., before erasing)
 *
 * @param slot SLOT_A or SLOT_B
 * @return 0 on success, negative error code on failure
 */
int boot_control_mark_slot_invalid(uint8_t slot);

/**
 * Switch active slot pointer (called after OTA validation)
 * Does NOT reboot - caller should reboot after this
 *
 * @param new_slot SLOT_A or SLOT_B
 * @return 0 on success, negative error code on failure
 */
int boot_control_switch_slot(uint8_t new_slot);

/**
 * Confirm successful boot (resets boot_count)
 * Should be called from main after initialization is complete
 *
 * @return 0 on success, negative error code on failure
 */
int boot_control_confirm_boot(void);

/**
 * Get boot count for diagnostics
 *
 * @return Current boot count
 */
uint8_t boot_control_get_boot_count(void);

/**
 * Get fallback reason from last boot
 *
 * @return BOOT_FALLBACK_* code
 */
uint8_t boot_control_get_fallback_reason(void);

/**
 * Get firmware version (build number) in slot
 *
 * @param slot SLOT_A or SLOT_B
 * @return Build number, 0 if unknown
 */
uint32_t boot_control_get_firmware_version(uint8_t slot);

/**
 * Debug: Print boot control block info
 */
void boot_control_print_info(void);

#endif /* BOOT_CONTROL_H */
```

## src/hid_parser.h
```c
/*
 * SPDX-License-Identifier: Apache-2.0
 * HID Parser - Xbox Controller Input Parsing
 *
 * Parses HID reports from Xbox Wireless Controller into
 * structured input data.
 */

#ifndef HID_PARSER_H
#define HID_PARSER_H

#include "robot_state.h"
#include <stdint.h>
#include <stdbool.h>

/**
 * Initialize the HID parser
 *
 * @return 0 on success, negative errno on failure
 */
int hid_parser_init(void);

/**
 * Parse raw HID report from Xbox Controller
 *
 * @param data Raw HID report data
 * @param len Length of data
 * @param input Output structure for parsed input
 * @return 0 on success, negative errno on failure
 */
int hid_parse_xbox_report(const uint8_t *data, uint16_t len, struct xbox_input *input);

/**
 * Convert Xbox input to motor command
 *
 * @param input Parsed Xbox input
 * @param cmd Output motor command
 */
void hid_input_to_motor_cmd(const struct xbox_input *input, struct motor_cmd *cmd);

/**
 * Get deadzone-adjusted stick value
 * Returns 0 for values within deadzone
 *
 * @param value Raw stick value (-32768 to 32767)
 * @param deadzone Deadzone threshold (0-32767)
 * @return Adjusted value with deadzone applied
 */
int16_t hid_apply_deadzone(int16_t value, int16_t deadzone);

/**
 * Check if a button is pressed
 *
 * @param input Parsed Xbox input
 * @param button_mask Button mask (XBOX_BTN_*)
 * @return true if button is pressed
 */
static inline bool hid_button_pressed(const struct xbox_input *input, uint16_t button_mask)
{
    return (input->buttons & button_mask) != 0;
}

/* Default deadzone (about 10% of full range) */
#define HID_DEFAULT_DEADZONE 3277

/* Trigger threshold for "pressed" state */
#define HID_TRIGGER_THRESHOLD 100

#endif /* HID_PARSER_H */
```
